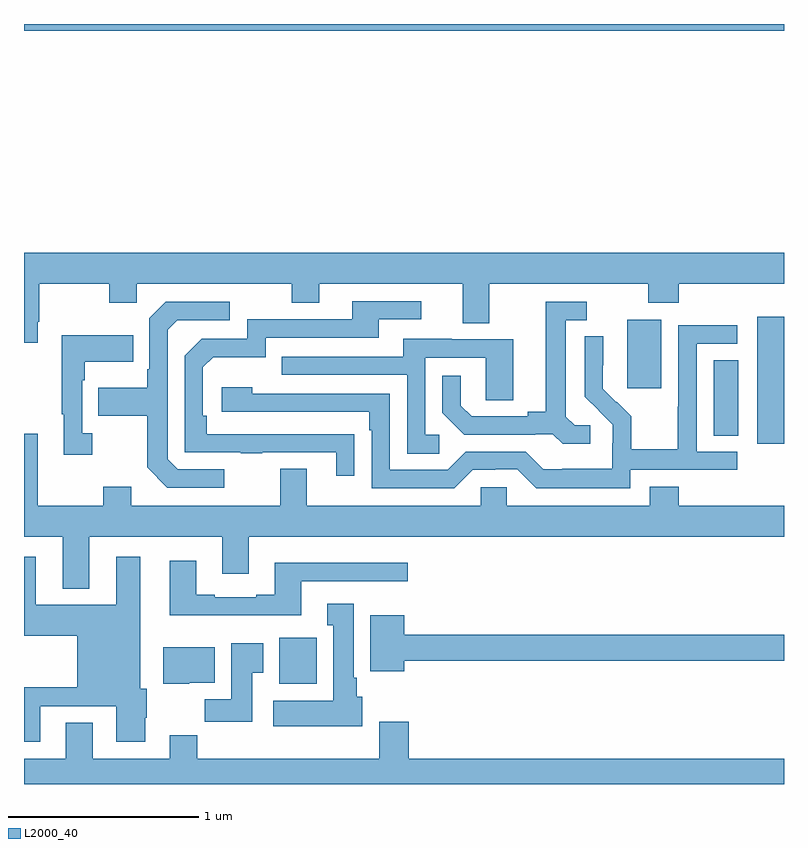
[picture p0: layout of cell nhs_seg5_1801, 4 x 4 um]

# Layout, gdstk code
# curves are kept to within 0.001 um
import gdstk
lib = gdstk.Library(unit=1e-6, precision=1e-09)
def R(c, l, rs):  # rectangles x0, y0, x1, y1
    for r in rs: c.add(gdstk.rectangle(r[:2], r[2:], *l))
def P(c, l, *ps):  # polygons
    for p in ps: c.add(gdstk.Polygon(p, *l))
L2000_40 = (2000, 40)

nhs_seg5_1801 = lib.new_cell('nhs_seg5_1801')
R(nhs_seg5_1801, L2000_40, [(220.343,849.326,220.54,849.568), (222.86,850.59,223,851.257), (222.629,850.633,222.76,851.03), (222.176,850.881,222.355,851.242), (219,852.764,223,852.799)])
P(nhs_seg5_1801, L2000_40, [(219.073,851.233),(219.081,851.233),(219.081,851.432),(219.448,851.432),(219.448,851.333),(219.594,851.333),(219.594,851.432),(220.408,851.432),(220.408,851.333),(220.555,851.333),(220.555,851.432),(221.309,851.432),(221.309,851.224),(221.449,851.224),(221.449,851.432),(222.286,851.432),(222.286,851.333),(222.446,851.333),(222.446,851.432),(223,851.432),(223,851.596),(219,851.596),(219,851.121),(219.073,851.121)],
  [(220.739,850.64),(219.962,850.641),(219.962,850.738),(219.942,850.738),(219.942,850.992),(219.995,851.045),(220.272,851.045),(220.272,851.148),(220.867,851.148),(220.867,851.244),(221.092,851.244),(221.092,851.34),(220.727,851.34),(220.727,851.244),(220.176,851.244),(220.176,851.142),(219.936,851.142),(219.846,851.052),(219.846,850.545),(220.141,850.545),(220.141,850.54),(220.253,850.54),(220.253,850.545),(220.643,850.545),(220.643,850.422),(220.739,850.422)],
  [(221.98,850.686),(221.898,850.686),(221.851,850.733),(221.851,851.241),(221.962,851.241),(221.962,851.337),(221.747,851.337),(221.747,850.757),(221.651,850.757),(221.651,850.734),(221.356,850.734),(221.299,850.791),(221.299,850.948),(221.202,850.948),(221.202,850.754),(221.318,850.638),(221.69,850.638),(221.69,850.641),(221.784,850.641),(221.836,850.589),(221.98,850.589)],
  [(220.054,850.455),(219.81,850.455),(219.756,850.509),(219.756,851.19),(219.807,851.241),(220.084,851.241),(220.084,851.337),(219.747,851.337),(219.66,851.25),(219.66,850.981),(219.648,850.981),(219.648,850.885),(219.391,850.885),(219.391,850.738),(219.648,850.738),(219.648,850.465),(219.753,850.359),(220.054,850.359)],
  [(222.192,850.452),(222.754,850.452),(222.754,850.548),(222.54,850.548),(222.54,851.115),(222.754,851.115),(222.754,851.214),(222.444,851.214),(222.444,850.784),(222.442,850.784),(222.442,850.561),(222.197,850.561),(222.197,850.735),(222.12,850.812),(222.117,850.809),(222.047,850.88),(222.048,851.156),(221.952,851.156),(221.952,850.838),(222.098,850.69),(222.098,850.593),(222.096,850.593),(222.096,850.459),(221.833,850.459),(221.833,850.455),(221.733,850.455),(221.64,850.548),(221.325,850.548),(221.229,850.452),(220.926,850.452),(220.926,850.854),(220.202,850.854),(220.202,850.888),(220.041,850.888),(220.041,850.758),(220.817,850.758),(220.817,850.661),(220.83,850.661),(220.83,850.356),(221.265,850.356),(221.361,850.452),(221.48,850.452),(221.48,850.455),(221.595,850.455),(221.695,850.355),(222.192,850.355)],
  [(219.358,850.646),(219.306,850.646),(219.306,850.925),(219.319,850.925),(219.319,851.021),(219.575,851.021),(219.575,851.161),(219.198,851.161),(219.198,850.745),(219.209,850.745),(219.209,850.533),(219.358,850.533)],
  [(221.185,850.638),(221.112,850.638),(221.112,851.043),(221.43,851.043),(221.43,850.819),(221.575,850.819),(221.575,851.139),(221.251,851.139),(221.251,851.143),(220.997,851.143),(220.997,851.049),(220.357,851.049),(220.357,850.953),(221.016,850.953),(221.016,850.537),(221.185,850.537)],
  [(219.343,850.1),(220.043,850.1),(220.043,849.906),(220.183,849.906),(220.183,850.1),(223,850.1),(223,850.264),(222.446,850.264),(222.446,850.363),(222.293,850.363),(222.293,850.264),(221.541,850.264),(221.541,850.362),(221.403,850.362),(221.403,850.264),(220.489,850.264),(220.489,850.459),(220.349,850.459),(220.349,850.264),(219.565,850.264),(219.565,850.363),(219.418,850.363),(219.418,850.264),(219.073,850.264),(219.073,850.642),(219,850.642),(219,850.1),(219.203,850.1),(219.203,849.827),(219.343,849.827)],
  [(219.085,849.207),(219.485,849.207),(219.485,849.021),(219.637,849.021),(219.637,849.148),(219.645,849.148),(219.645,849.3),(219.613,849.3),(219.613,849.994),(219.485,849.994),(219.485,849.742),(219.061,849.742),(219.061,849.994),(219,849.994),(219,849.578),(219.281,849.578),(219.281,849.308),(219,849.308),(219,849.021),(219.085,849.021)],
  [(220.459,849.867),(221.02,849.867),(221.02,849.964),(220.319,849.964),(220.319,849.796),(220.223,849.796),(220.223,849.783),(220.003,849.783),(220.003,849.796),(219.907,849.796),(219.907,849.973),(219.767,849.973),(219.767,849.686),(220.459,849.686)],
  [(220.78,849.258),(220.75,849.258),(220.75,849.358),(220.735,849.358),(220.735,849.748),(220.595,849.748),(220.595,849.635),(220.628,849.635),(220.628,849.238),(220.311,849.238),(220.311,849.104),(220.78,849.104)],
  [(221.002,849.448),(223,849.448),(223,849.584),(221.002,849.584),(221.002,849.688),(220.823,849.688),(220.823,849.392),(221.002,849.392)],
  [(220.201,849.385),(220.258,849.385),(220.258,849.541),(220.091,849.541),(220.091,849.244),(219.952,849.244),(219.952,849.126),(220.201,849.126)],
  [(219.87,849.332),(220.003,849.332),(220.003,849.52),(219.734,849.52),(219.734,849.326),(219.87,849.326)],
  [(223,848.932),(221.024,848.932),(221.024,849.127),(220.871,849.127),(220.871,848.932),(219.911,848.932),(219.911,849.056),(219.767,849.056),(219.767,848.932),(219.361,848.932),(219.361,849.122),(219.221,849.122),(219.221,848.932),(219,848.932),(219,848.799),(223,848.799)])

lib.write_gds('nhs_seg5_1801.gds')
